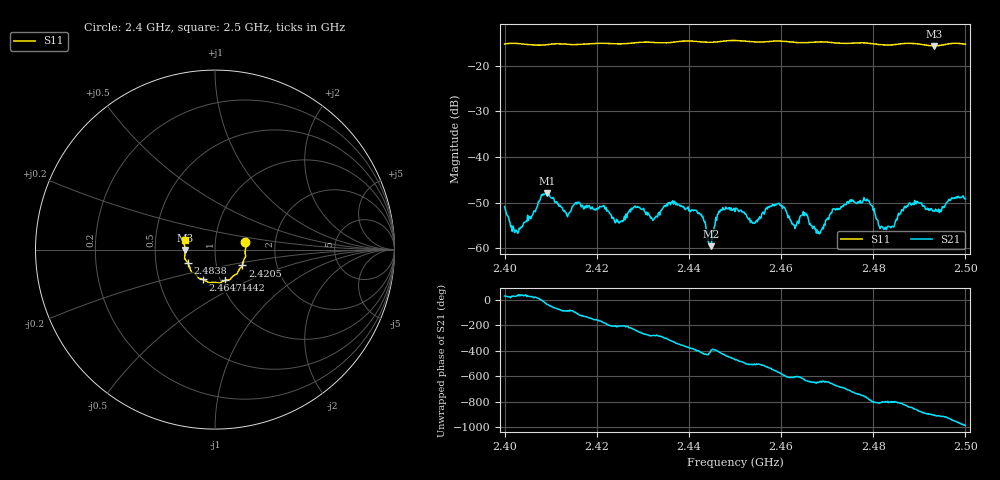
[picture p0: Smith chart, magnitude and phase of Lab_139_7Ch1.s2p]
# Hz S RI R 50
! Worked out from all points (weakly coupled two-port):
!   601 points, 2.4 GHz to 2.5 GHz, reference 50 ohm
!   highest |S21| = -47.89 dB at 2.4092 GHz (marker M1); lowest = -59.5 dB at 2.4448 GHz (marker M2)
!   lowest |S11| = -15.6 dB at 2.4932 GHz (marker M3), VSWR 1.40, Z = 35.8 - j0.169 ohm
!   |S11| at or under -10 dB: start of sweep to end of sweep
!   S12 and S22 are empty: the file has one direction only
!   S11 on the Smith chart (normalised r, x): 2.4 GHz: 1.40, +0.12; 2.4205 GHz: 1.34, -0.24; 2.4442 GHz: 1.05, -0.37; 2.4647 GHz: 0.83, -0.29; 2.4838 GHz: 0.73, -0.11; 2.5 GHz: 0.71, +0.07
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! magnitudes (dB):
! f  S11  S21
! 2.4 GHz  -15.2  -50.9
! 2.4027 GHz  -15.1  -56.3
! 2.4092 GHz  -15.4  -47.9
! 2.4137 GHz  -15.3  -53.1
! 2.4167 GHz  -15.3  -50.9
! 2.4205 GHz  -15.1  -51.1
! 2.4245 GHz  -15.2  -54.2
! 2.4333 GHz  -15.0  -52.4
! 2.4412 GHz  -14.6  -51.6
! 2.4442 GHz  -14.8  -58.6
! 2.4448 GHz  -14.8  -59.5
! 2.4468 GHz  -14.7  -51.6
! 2.45 GHz  -14.5  -52.0
! 2.4538 GHz  -14.7  -54.5
! 2.4647 GHz  -14.9  -52.6
! 2.4667 GHz  -14.8  -55.1
! 2.4785 GHz  -15.0  -49.6
! 2.4833 GHz  -15.5  -55.2
! 2.4838 GHz  -15.4  -55.5
! 2.4882 GHz  -15.1  -50.4
! 2.4932 GHz  -15.6  -51.8
! 2.5 GHz  -15.3  -49.2
